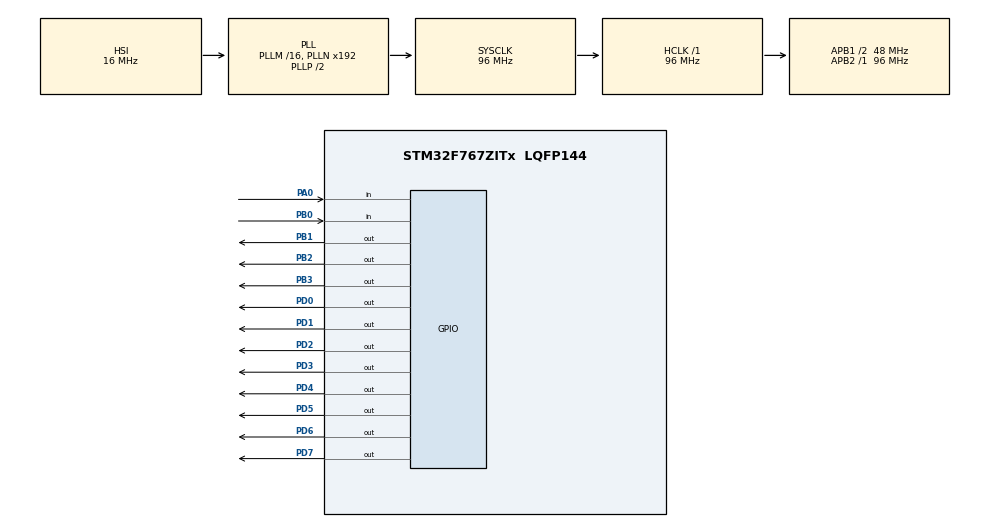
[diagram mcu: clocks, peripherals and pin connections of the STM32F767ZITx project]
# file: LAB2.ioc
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Mcu.Family=STM32F7
Mcu.Name=STM32F767ZITx
Mcu.Package=LQFP144
NVIC.PriorityGroup=NVIC_PRIORITYGROUP_4
PA0/WKUP.Signal=GPIO_Input
PB0.GPIO_PuPd=GPIO_PULLUP
PB0.Signal=GPIO_Input
PB1.Signal=GPIO_Output
PB2.Signal=GPIO_Output
PB3.Signal=GPIO_Output
PD0.Signal=GPIO_Output
PD1.Signal=GPIO_Output
PD2.Signal=GPIO_Output
PD3.Signal=GPIO_Output
PD4.Signal=GPIO_Output
PD5.Signal=GPIO_Output
PD6.Signal=GPIO_Output
PD7.Signal=GPIO_Output
ProjectManager.HeapSize=0x200
ProjectManager.StackSize=0x400
ProjectManager.TargetToolchain=STM32CubeIDE
RCC.AHBFreq_Value=96000000
RCC.APB1CLKDivider=RCC_HCLK_DIV2
RCC.APB1Freq_Value=48000000
RCC.APB1TimFreq_Value=96000000
RCC.APB2Freq_Value=96000000
RCC.APB2TimFreq_Value=96000000
RCC.CortexFreq_Value=96000000
RCC.HCLKFreq_Value=96000000
RCC.HSE_VALUE=25000000
RCC.HSI_VALUE=16000000
RCC.LSE_VALUE=32768
RCC.SYSCLKFreq_VALUE=96000000
RCC.SYSCLKSource=RCC_SYSCLKSOURCE_PLLCLK
RCC.USBFreq_Value=96000000
RCC.VCOOutputFreq_Value=192000000
board=custom

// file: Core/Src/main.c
/* USER CODE BEGIN Header */
/**
  ******************************************************************************
  * @file           : main.c
  * @brief          : Main program body
  ******************************************************************************
  * @attention
  *
  * Copyright (c) 2023 STMicroelectronics.
  * All rights reserved.
  *
  * This software is licensed under terms that can be found in the LICENSE file
  * in the root directory of this software component.
  * If no LICENSE file comes with this software, it is provided AS-IS.
  *
  ******************************************************************************
  */
/* USER CODE END Header */
#include "main.h"

/* USER CODE BEGIN PV */
uint8_t button1 =0;
uint8_t button2 =0;
uint8_t num =0;
int pins[8] = {
	  		GPIO_PIN_0,
	  		GPIO_PIN_1,
	  		GPIO_PIN_2,
	  		GPIO_PIN_3,
	  		GPIO_PIN_4,
	  		GPIO_PIN_5,
	  		GPIO_PIN_6,
	  		GPIO_PIN_7
	  };

/* USER CODE END PV */

void SystemClock_Config(void);
static void MPU_Initialize(void);
static void MPU_Config(void);
static void MX_GPIO_Init(void);

int main(void)
{

  /* MCU Configuration--------------------------------------------------------*/

  /* Reset of all peripherals, Initializes the Flash interface and the Systick. */
  HAL_Init();

  /* MPU Configuration--------------------------------------------------------*/
  MPU_Config();

  /* Configure the system clock */
  SystemClock_Config();

  /* Initialize all configured peripherals */
  MX_GPIO_Init();

  /* Infinite loop */
  while (1)
  {

    /* USER CODE BEGIN 3 */
	  if(HAL_GPIO_ReadPin(GPIOB, GPIO_PIN_0)){
		  button1=0;
	  }
	  else{
		  button1 =1;
	  }

	  for(int i =0; i<8;i++){
		  HAL_GPIO_WritePin(GPIOD, pins[i], GPIO_PIN_SET);

			HAL_Delay(500);

			HAL_GPIO_WritePin(GPIOD, pins[i], GPIO_PIN_RESET);
			HAL_Delay(500);
	  }
	  if(button1){
		  HAL_GPIO_WritePin(GPIOB, GPIO_PIN_1, GPIO_PIN_SET);

		  		HAL_Delay(500);

		  		HAL_GPIO_WritePin(GPIOB, GPIO_PIN_1, GPIO_PIN_RESET);
		  		HAL_Delay(1000);

	  }
	  else {
		  if(button2){

		  }
	  }

  }
  /* USER CODE END 3 */
}

void SystemClock_Config(void)
{
  RCC_OscInitTypeDef RCC_OscInitStruct = {0};
  RCC_ClkInitTypeDef RCC_ClkInitStruct = {0};

  /** Configure the main internal regulator output voltage
  */
  __HAL_RCC_PWR_CLK_ENABLE();
  __HAL_PWR_VOLTAGESCALING_CONFIG(PWR_REGULATOR_VOLTAGE_SCALE3);

  /** Initializes the RCC Oscillators according to the specified parameters
  * in the RCC_OscInitTypeDef structure.
  */
  RCC_OscInitStruct.OscillatorType = RCC_OSCILLATORTYPE_HSI;
  RCC_OscInitStruct.HSIState = RCC_HSI_ON;
  RCC_OscInitStruct.HSICalibrationValue = RCC_HSICALIBRATION_DEFAULT;
  RCC_OscInitStruct.PLL.PLLState = RCC_PLL_ON;
  RCC_OscInitStruct.PLL.PLLSource = RCC_PLLSOURCE_HSI;
  RCC_OscInitStruct.PLL.PLLM = 16;
  RCC_OscInitStruct.PLL.PLLN = 192;
  RCC_OscInitStruct.PLL.PLLP = RCC_PLLP_DIV2;
  RCC_OscInitStruct.PLL.PLLQ = 2;
  RCC_OscInitStruct.PLL.PLLR = 2;
  if (HAL_RCC_OscConfig(&RCC_OscInitStruct) != HAL_OK)
  {
    Error_Handler();
  }

  /** Activate the Over-Drive mode
  */
  if (HAL_PWREx_EnableOverDrive() != HAL_OK)
  {
    Error_Handler();
  }

  /** Initializes the CPU, AHB and APB buses clocks
  */
  RCC_ClkInitStruct.ClockType = RCC_CLOCKTYPE_HCLK|RCC_CLOCKTYPE_SYSCLK
                              |RCC_CLOCKTYPE_PCLK1|RCC_CLOCKTYPE_PCLK2;
  RCC_ClkInitStruct.SYSCLKSource = RCC_SYSCLKSOURCE_PLLCLK;
  RCC_ClkInitStruct.AHBCLKDivider = RCC_SYSCLK_DIV1;
  RCC_ClkInitStruct.APB1CLKDivider = RCC_HCLK_DIV2;
  RCC_ClkInitStruct.APB2CLKDivider = RCC_HCLK_DIV1;

  if (HAL_RCC_ClockConfig(&RCC_ClkInitStruct, FLASH_LATENCY_3) != HAL_OK)
  {
    Error_Handler();
  }
}

static void MX_GPIO_Init(void)
{
  GPIO_InitTypeDef GPIO_InitStruct = {0};

  /* GPIO Ports Clock Enable */
  __HAL_RCC_GPIOA_CLK_ENABLE();
  __HAL_RCC_GPIOB_CLK_ENABLE();
  __HAL_RCC_GPIOD_CLK_ENABLE();

  /*Configure GPIO pin Output Level */
  HAL_GPIO_WritePin(GPIOB, GPIO_PIN_1|GPIO_PIN_2|GPIO_PIN_3, GPIO_PIN_RESET);

  /*Configure GPIO pin Output Level */
  HAL_GPIO_WritePin(GPIOD, GPIO_PIN_0|GPIO_PIN_1|GPIO_PIN_2|GPIO_PIN_3
                          |GPIO_PIN_4|GPIO_PIN_5|GPIO_PIN_6|GPIO_PIN_7, GPIO_PIN_RESET);

  /*Configure GPIO pin : PA0 */
  GPIO_InitStruct.Pin = GPIO_PIN_0;
  GPIO_InitStruct.Mode = GPIO_MODE_INPUT;
  GPIO_InitStruct.Pull = GPIO_NOPULL;
  HAL_GPIO_Init(GPIOA, &GPIO_InitStruct);

  /*Configure GPIO pin : PB0 */
  GPIO_InitStruct.Pin = GPIO_PIN_0;
  GPIO_InitStruct.Mode = GPIO_MODE_INPUT;
  GPIO_InitStruct.Pull = GPIO_PULLUP;
  HAL_GPIO_Init(GPIOB, &GPIO_InitStruct);

  /*Configure GPIO pins : PB1 PB2 PB3 */
  GPIO_InitStruct.Pin = GPIO_PIN_1|GPIO_PIN_2|GPIO_PIN_3;
  GPIO_InitStruct.Mode = GPIO_MODE_OUTPUT_PP;
  GPIO_InitStruct.Pull = GPIO_NOPULL;
  GPIO_InitStruct.Speed = GPIO_SPEED_FREQ_LOW;
  HAL_GPIO_Init(GPIOB, &GPIO_InitStruct);

  /*Configure GPIO pins : PD0 PD1 PD2 PD3
                           PD4 PD5 PD6 PD7 */
  GPIO_InitStruct.Pin = GPIO_PIN_0|GPIO_PIN_1|GPIO_PIN_2|GPIO_PIN_3
                          |GPIO_PIN_4|GPIO_PIN_5|GPIO_PIN_6|GPIO_PIN_7;
  GPIO_InitStruct.Mode = GPIO_MODE_OUTPUT_PP;
  GPIO_InitStruct.Pull = GPIO_NOPULL;
  GPIO_InitStruct.Speed = GPIO_SPEED_FREQ_LOW;
  HAL_GPIO_Init(GPIOD, &GPIO_InitStruct);

}

/* MPU Configuration */

void MPU_Config(void)
{
  MPU_Region_InitTypeDef MPU_InitStruct = {0};

  /* Disables the MPU */
  HAL_MPU_Disable();

  /** Initializes and configures the Region and the memory to be protected
  */
  MPU_InitStruct.Enable = MPU_REGION_ENABLE;
  MPU_InitStruct.Number = MPU_REGION_NUMBER0;
  MPU_InitStruct.BaseAddress = 0x0;
  MPU_InitStruct.Size = MPU_REGION_SIZE_4GB;
  MPU_InitStruct.SubRegionDisable = 0x87;
  MPU_InitStruct.TypeExtField = MPU_TEX_LEVEL0;
  MPU_InitStruct.AccessPermission = MPU_REGION_NO_ACCESS;
  MPU_InitStruct.DisableExec = MPU_INSTRUCTION_ACCESS_DISABLE;
  MPU_InitStruct.IsShareable = MPU_ACCESS_SHAREABLE;
  MPU_InitStruct.IsCacheable = MPU_ACCESS_NOT_CACHEABLE;
  MPU_InitStruct.IsBufferable = MPU_ACCESS_NOT_BUFFERABLE;

  HAL_MPU_ConfigRegion(&MPU_InitStruct);
  /* Enables the MPU */
  HAL_MPU_Enable(MPU_PRIVILEGED_DEFAULT);

}

void Error_Handler(void)
{
  __disable_irq();
  while (1)
  {
  }
}
